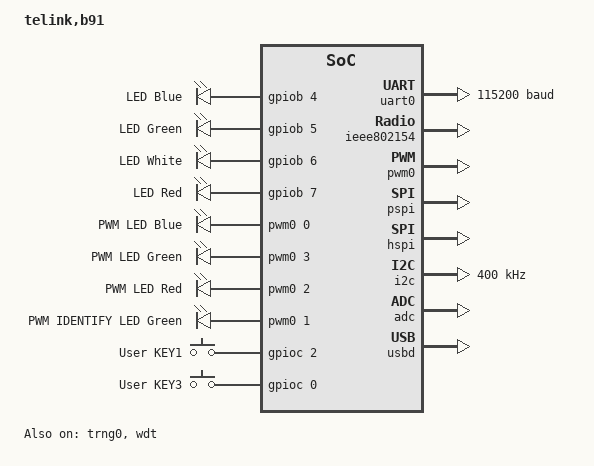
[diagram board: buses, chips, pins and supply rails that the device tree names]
/*
 * Copyright (c) 2021 Telink Semiconductor
 *
 * SPDX-License-Identifier: Apache-2.0
 */

/dts-v1/;

#include <freq.h>
#include <telink/telink_b91.dtsi>
#include "tlsr9518adk80d-pinctrl.dtsi"

/ {
	model = "telink,b91";
	compatible = "telink,tlsr9518adk80d";

	aliases {
		led0 = &led_blue;
		led1 = &led_green;
		led2 = &led_white;
		led3 = &led_red;
		sw0 = &key_1;
		sw2 = &key_3;
		pwm-led0 = &pwm_led0;
		pwm-led1 = &pwm_led1;
		pwm-led2 = &pwm_led2;
		pwm-led3 = &pwm_led3;
		pwm-0 = &pwm0;
		watchdog0 = &wdt;
	};

	leds {
		compatible = "gpio-leds";

		led_blue: led_0 {
			gpios = <&gpiob 4 GPIO_ACTIVE_HIGH>;
			label = "LED Blue";
		};

		led_green: led_1 {
			gpios = <&gpiob 5 GPIO_ACTIVE_HIGH>;
			label = "LED Green";
		};

		led_white: led_2 {
			gpios = <&gpiob 6 GPIO_ACTIVE_HIGH>;
			label = "LED White";
		};

		led_red: led_3 {
			gpios = <&gpiob 7 GPIO_ACTIVE_HIGH>;
			label = "LED Red";
		};
	};

	pwm_leds {
		compatible = "pwm-leds";

		pwm_led0: pwm_led_0 {
			pwms = <&pwm0 0 PWM_MSEC(20) PWM_POLARITY_NORMAL>;
			label = "PWM LED Blue";
		};
		pwm_led1: pwm_led_1 {
			pwms = <&pwm0 3 PWM_MSEC(20) PWM_POLARITY_NORMAL>;
			label = "PWM LED Green";
		};
		pwm_led2: pwm_led_2 {
			pwms = <&pwm0 2 PWM_MSEC(20) PWM_POLARITY_NORMAL>;
			label = "PWM LED Red";
		};
		pwm_led3: pwm_led_3 {
			pwms = <&pwm0 1 PWM_MSEC(20) PWM_POLARITY_NORMAL>;
			label = "PWM IDENTIFY LED Green";
		};
	};

	keys {
		compatible = "gpio-keys";
		key_1: button_1 {
			label = "User KEY1";
			gpios = <&gpioc 2 GPIO_PULL_DOWN>;
		};
		key_3: button_3 {
			label = "User KEY3";
			gpios = <&gpioc 0 GPIO_PULL_DOWN>;
		};
	};

	chosen {
		zephyr,console = &uart0;
		zephyr,shell-uart = &uart0;
		zephyr,sram = &ram_dlm;
		zephyr,flash = &flash;
		zephyr,flash-controller = &flash_mspi;
		zephyr,entropy = &trng0;
		zephyr,code-partition = &slot0_partition;
		zephyr,ieee802154 = &ieee802154;
	};
};

&cpu0 {
	clock-frequency = <48000000>;
};

&ram_ilm {
	reg = <0x00000000 0x00020000>;
};

&ram_dlm {
	reg = <0x00080000 0x00020000>;
};

&flash {
	reg = <0x20000000 0x200000>;

	partitions {
		compatible = "fixed-partitions";
		#address-cells = <1>;
		#size-cells = <1>;

		boot_partition: partition@0 {
			label = "mcuboot";
			reg = <0x00000000 0x13000>;
		};
		slot0_partition: partition@13000 {
			label = "image-0";
			reg = <0x13000 0xf1000>;
		};
		factory_partition: partition@104000 {
			label = "factory-data";
			reg = <0x104000 0x1000>;
		};
		storage_partition: partition@105000 {
			label = "storage";
			reg = <0x105000 0x8000>;
		};
		slot1_partition: partition@10d000 {
			label = "image-1";
			reg = <0x10d000 0xf1000>;
		};
		/* region <0x1fe000 0x2000> is reserved for Telink B91 SDK's data */
	};
};

&gpiob {
	status = "okay";
};

&gpioc {
	interrupts = <37 1>;
	status = "okay";
};

&uart0 {
	status = "okay";
	current-speed = <115200>;
	pinctrl-0 = <&uart0_tx_pb2_default &uart0_rx_pb3_default>;
	pinctrl-names = "default";
};

&trng0 {
	status = "okay";
};

&ieee802154 {
	status = "okay";
};

&pwm0 {
	status = "okay";
	clock-frequency = <93750>;
	pinctrl-0 = <&pwm_ch0_pb4_default &pwm_ch1_pb5_default &pwm_ch2_pe2_default &pwm_ch3_pe0_default>;
	pinctrl-names = "default";
};

&pspi {
	status = "okay";
	cs0-pin = "PSPI_CSN_PC4";
	pinctrl-0 = <&pspi_clk_pc5_default &pspi_miso_pc6_default &pspi_mosi_pc7_default>;
	pinctrl-names = "default";
};

&hspi {
	status = "okay";
	cs0-pin = "HSPI_CSN_PA1";
	pinctrl-0 = <&hspi_clk_pa2_default &hspi_miso_pa3_default &hspi_mosi_pa4_default>;
	pinctrl-names = "default";
};

&i2c {
	status = "okay";
	clock-frequency = <I2C_BITRATE_FAST>;
	pinctrl-0 = <&i2c_scl_pe1_default &i2c_sda_pe3_default>;
	pinctrl-names = "default";
};

&adc {
	status = "okay";
	vref-internal-mv = <1200>;
	sample-freq = <DT_FREQ_K(96)>;
	pinctrl-0 = <&adc_pb0_default>;
	pinctrl-names = "default";
};

zephyr_udc0: &usbd {
	compatible = "telink,b91-usbd";
	status = "okay";
};

&wdt {
	status = "okay";
};
